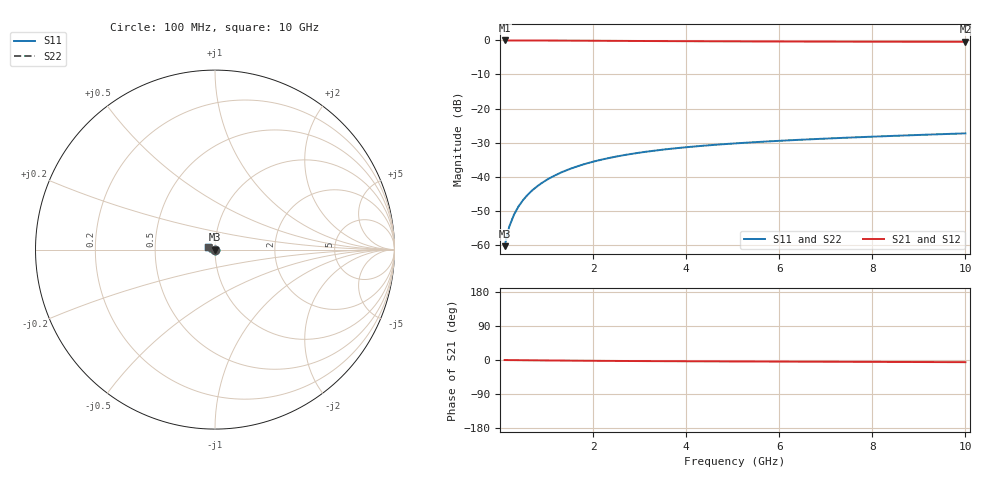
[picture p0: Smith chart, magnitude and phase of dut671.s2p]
! Touchstone file exported from HFSS 2024.1.0
!  File:  C:/UserFiles/LocalFiles/RDL_TSV_Batchsim/temp_TSV1_671_1779794118.aedt
!  Generated:  07:23:36 PM May 26, 2026
!  Design:  TSV1
!  Project:  temp_TSV1_671_1779794118
!  Setup:  Setup1
!  Solution:  Sweep
! Variables:
!  dtsv = 7.27um
!  hbump = 3um
!  htsv = 88.84um
!  lrdl = 252.1521522um
!  p = 40
!  p1 = 48.21um
!  t = 500um
!  trdl = 3um
!  wrdl = 24.89489489um
# GHz S MA R 50.000000
! Terminal data exported
! Port[1] = TSV22_T1
! Port[2] = TSV22_T2
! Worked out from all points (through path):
!   100 points, 100 MHz to 10 GHz, reference 50 ohm
!   highest |S21| = 0.00 dB at 100 MHz (marker M1); lowest = -0.4 dB at 10 GHz (marker M2)
!   lowest |S11| = -60.5 dB at 100 MHz (marker M3), VSWR 1.00, Z = 50 - j0.0913 ohm
!   |S11| at or under -10 dB: start of sweep to end of sweep
!   |S22| runs from -60.5 to -27.3 dB; largest |S21 - S12| = 3.1e-15
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0.1  0.0009491 -74.0  0.9997 -0.1  0.9997 -0.1  0.0009491 -74.0
! Gamma 0 0 0 0
! Port Impedance 50 0 50 0
0.2  0.001845 -84.6  0.9996 -0.2  0.9996 -0.2  0.001845 -84.6
0.3  0.00275 -89.5  0.9994 -0.4  0.9994 -0.4  0.00275 -89.5
0.4  0.003653 -93.0  0.9992 -0.5  0.9992 -0.5  0.003653 -93.0
0.5  0.00455 -95.8  0.9989 -0.6  0.9989 -0.6  0.00455 -95.8
0.6  0.005441 -98.3  0.9986 -0.7  0.9986 -0.7  0.005441 -98.3
0.7  0.006322 -100.6  0.9982 -0.8  0.9982 -0.8  0.006322 -100.6
0.8  0.007194 -102.8  0.9978 -0.9  0.9978 -0.9  0.007194 -102.8
0.9  0.008054 -104.9  0.9973 -1.0  0.9973 -1.0  0.008054 -104.9
1.1  0.009735 -108.9  0.9962 -1.3  0.9962 -1.3  0.009735 -108.9
1.4  0.01215 -114.6  0.9943 -1.6  0.9943 -1.6  0.01215 -114.6
1.6  0.01367 -118.2  0.9928 -1.7  0.9928 -1.7  0.01367 -118.2
1.8  0.01513 -121.7  0.9913 -1.9  0.9913 -1.9  0.01513 -121.7
2.1  0.01719 -126.6  0.989 -2.2  0.989 -2.2  0.01719 -126.6
2.5  0.01969 -132.9  0.9858 -2.5  0.9858 -2.5  0.01969 -132.9
2.9  0.02193 -138.7  0.9827 -2.7  0.9827 -2.7  0.02193 -138.7
3.4  0.0244 -145.4  0.979 -3.0  0.979 -3.0  0.0244 -145.4
4.2  0.02775 -154.9  0.9738 -3.4  0.9738 -3.4  0.02775 -154.9
5.1  0.03086 -164.1  0.9689 -3.8  0.9689 -3.8  0.03086 -164.1
6.7  0.03537 -177.8  0.9626 -4.5  0.9626 -4.5  0.03537 -177.8
8.4  0.03949 170.6  0.9581 -5.1  0.9581 -5.1  0.03949 170.6
10  0.04313 161.5  0.9551 -5.7  0.9551 -5.7  0.04314 161.5
